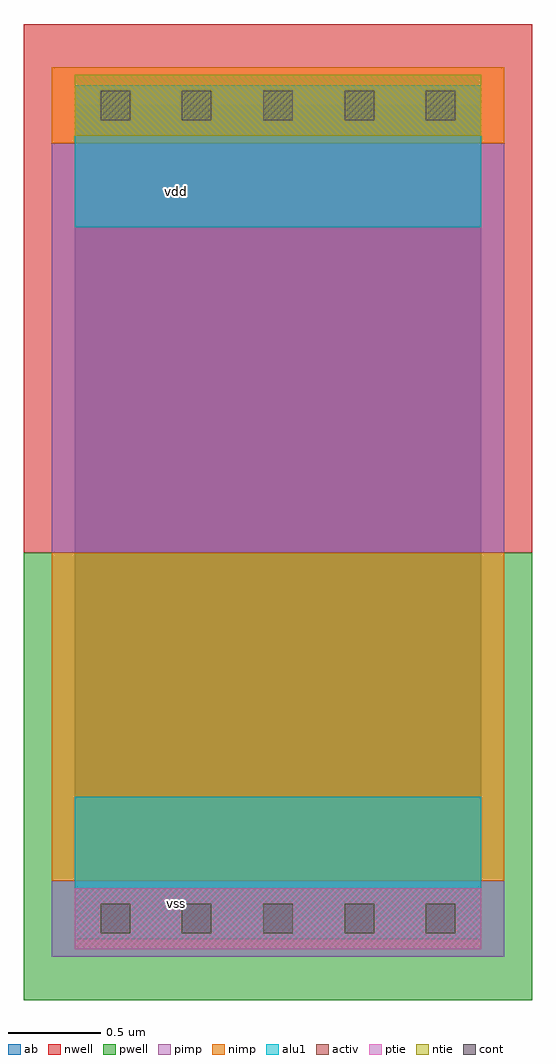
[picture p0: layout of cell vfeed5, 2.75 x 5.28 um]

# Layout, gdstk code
import gdstk
lib = gdstk.Library(unit=1e-6, precision=2.5e-09)
def R(c, l, rs):  # rectangles x0, y0, x1, y1
    for r in rs: c.add(gdstk.rectangle(r[:2], r[2:], *l))
def A(c, l, x, y, w, h, nx, ny, dx, dy):  # array of equal rectangles
    R(c, l, [(x+i*dx, y+j*dy, x+i*dx+w, y+j*dy+h) for i in range(nx) for j in range(ny)])
ntie = (5, 0)
ptie = (6, 0)
cont = (25, 0)
pwell = (41, 0)
nwell = (42, 0)
activ = (43, 0)
pimp = (44, 0)
nimp = (45, 0)
alu1 = (49, 0)
ab = (63, 0)

vfeed5 = lib.new_cell('vfeed5')
R(vfeed5, ntie, [(0,4.235,2.2,4.565)])
R(vfeed5, ptie, [(0,-0.165,2.2,0.165)])
A(vfeed5, cont, 0.14, -0.08, 0.16, 0.16, 5, 2, 0.44, 4.4)
R(vfeed5, pwell, [(-0.275,-0.44,2.475,1.98)])
R(vfeed5, nwell, [(-0.275,1.98,2.475,4.84)])
R(vfeed5, activ, [(0,-0.165,2.2,0.165), (0,4.235,2.2,4.565)])
R(vfeed5, pimp, [(-0.125,-0.205,2.325,0.205), (-0.125,1.98,2.325,4.195)])
R(vfeed5, nimp, [(-0.125,0.205,2.325,1.98), (-0.125,4.195,2.325,4.605)])
R(vfeed5, alu1, [(0,-0.11,2.2,0.66), (0,3.74,2.2,4.51)])
R(vfeed5, ab, [(0,0,2.2,4.4)])
vfeed5.add(gdstk.Label('vss', (0.55,0.0825), layer=49, texttype=0))
vfeed5.add(gdstk.Label('vdd', (0.55,3.9325), layer=49, texttype=0))

lib.write_gds('vfeed5.gds')
